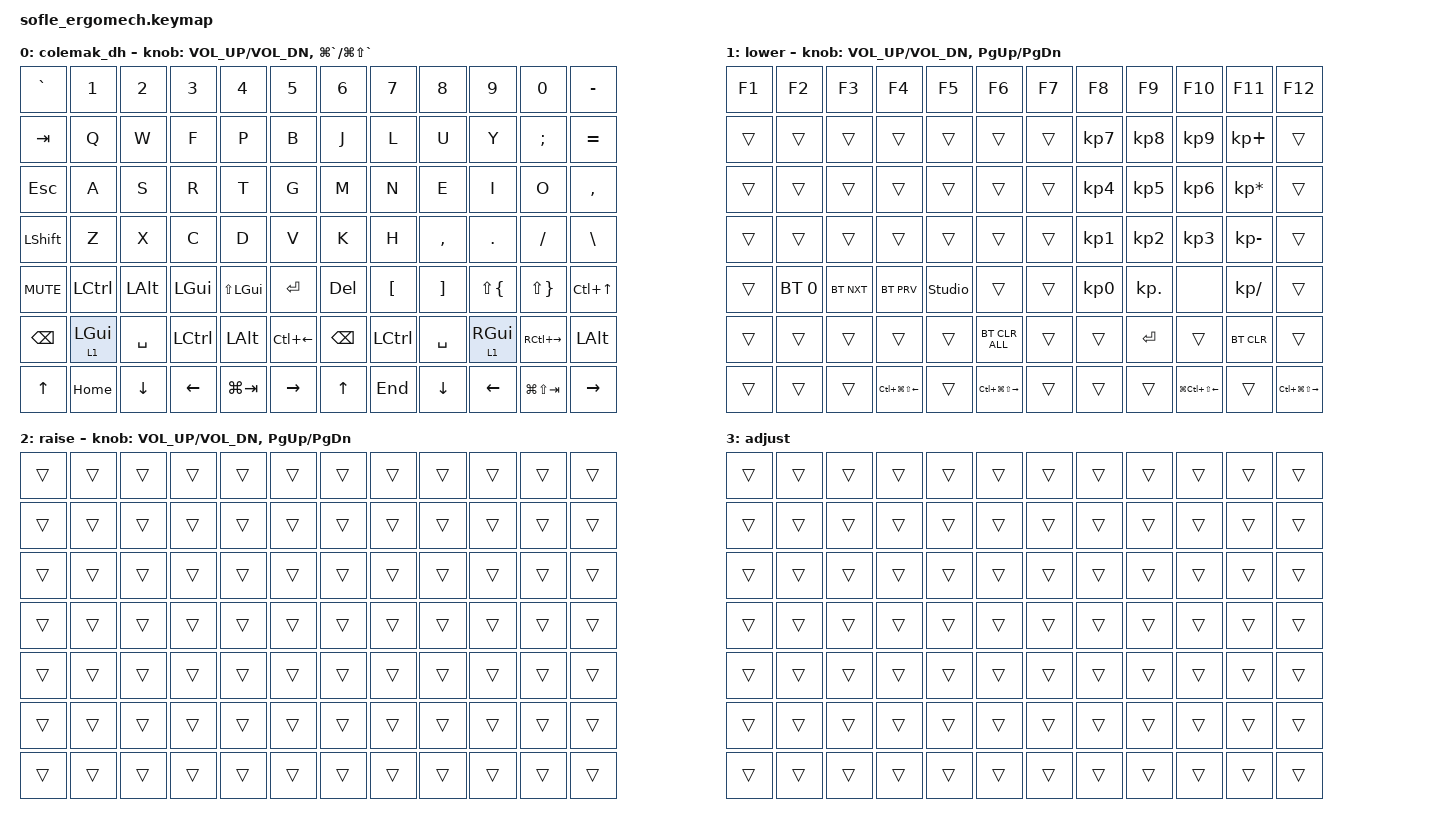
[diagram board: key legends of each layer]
/*
 * Copyright (c) 2020 The ZMK Contributors
 *
 * SPDX-License-Identifier: MIT
 */

#define ZMK_POINTING_DEFAULT_SCRL_VAL 300

#include <behaviors.dtsi>
#include <dt-bindings/zmk/bt.h>
#include <dt-bindings/zmk/keys.h>
#include <dt-bindings/zmk/pointing.h>

#define BASE 0
#define LOWER 1
#define RAISE 2
#define ADJUST 3

/ {
    // Activate ADJUST layer by pressing raise and lower

    conditional_layers {
        compatible = "zmk,conditional-layers";

        adjust_layer {
            if-layers = <LOWER RAISE>;
            then-layer = <ADJUST>;
        };
    };

    behaviors {
        mousescroll: mousescroll {
            compatible = "zmk,behavior-sensor-rotate";
            #sensor-binding-cells = <0>;
            bindings = <&msc SCRL_UP>, <&msc SCRL_DOWN>;

            tap-ms = <20>;
        };
    };

    keymap {
        compatible = "zmk,keymap";

        Colemak-DH {
            label = "colemak_dh";

            // ------------------------------------------------------------------------------------------------------------
            // |   `   |  1  |  2  |  3   |  4   |  5   |                   |  6   |  7    |  8    |  9   |   0   |       |
            // |  ESC  |  Q  |  W  |  E   |  R   |  T   |                   |  Y   |  U    |  I    |  O   |   P   | BKSPC |
            // |  TAB  |  A  |  S  |  D   |  F   |  G   |                   |  H   |  J    |  K    |  L   |   ;   |   '   |
            // | SHIFT |  Z  |  X  |  C   |  V   |  B   |  MUTE  |  |       |  N   |  M    |  ,    |  .   |   /   | SHIFT |
            //               | GUI | ALT  | CTRL | LOWER|  ENTER |  | SPACE | RAISE| CTRL  | ALT   | GUI  |

            bindings = <
&kp GRAVE      &kp N1      &kp N2     &kp N3     &kp N4        &kp N5        &kp N6    &kp N7            &kp N8             &kp N9        &kp N0           &kp MINUS
&kp TAB        &kp Q       &kp W      &kp F      &kp P         &kp B         &kp J     &kp L             &kp U              &kp Y         &kp SEMI         &kp EQUAL
&kp ESC        &kp A       &kp S      &kp R      &kp T         &kp G         &kp M     &kp N             &kp E              &kp I         &kp O            &kp COMMA
&kp LSHFT      &kp Z       &kp X      &kp C      &kp D         &kp V         &kp K     &kp H             &kp COMMA          &kp DOT       &kp FSLH         &kp BSLH
&kp K_MUTE     &kp LCTRL   &kp LALT   &kp LGUI   &kp LS(LGUI)  &kp ENTER     &kp DEL   &kp LEFT_BRACKET  &kp RIGHT_BRACKET  &kp LS(LBRC)  &kp LS(RBRC)     &kp LC(UP_ARROW)
&kp BACKSPACE  &lt 1 LGUI  &kp SPACE  &kp LCTRL  &kp LALT      &kp LC(LEFT)  &kp BSPC  &kp LCTRL         &kp SPACE          &lt 1 RGUI    &kp RC(RIGHT)    &kp LALT
&kp UP         &kp HOME    &kp DOWN   &kp LEFT   &kp LG(TAB)   &kp RIGHT     &kp UP    &kp END           &kp DOWN           &kp LEFT      &kp LG(LS(TAB))  &kp RIGHT
            >;

            sensor-bindings =
                <&inc_dec_kp C_VOL_UP C_VOL_DN>,
                <&inc_dec_kp LG(GRAVE) LG(LS(GRAVE))>;
        };

        lower_layer {
            label = "lower";

            // TODO: Some binds are waiting for shifted keycode support.
            // ------------------------------------------------------------------------------------------------------------
            // |       |  F1 |  F2 |  F3  |  F4  |  F5  |                   |  F6  |  F7   |  F8   |  F9  |  F10  |  F11  |
            // |   `   |  1  |  2  |  3   |  4   |  5   |                   |  6   |  7    |  8    |  9   |   0   |  F12  |
            // |       |  !  |  @  |  #   |  $   |  %   |                   |  ^   |  &    |  *    |  (   |   )   |   |   |
            // |       |  =  |  -  |  +   |  {   |  }   |        |  |       |  [   |  ]    |  ;    |  :   |   \   |       |
            //               |     |      |      |      |        |  |       |      |       |       |      |

            bindings = <
&kp F1  &kp F2        &kp F3      &kp F4                &kp F5          &kp F6                 &kp F7  &kp F8           &kp F9      &kp F10               &kp F11          &kp F12
&trans  &trans        &trans      &trans                &trans          &trans                 &trans  &kp KP_N7        &kp KP_N8   &kp KP_N9             &kp KP_PLUS      &trans
&trans  &trans        &trans      &trans                &trans          &trans                 &trans  &kp KP_NUMBER_4  &kp KP_N5   &kp KP_N6             &kp KP_ASTERISK  &trans
&trans  &trans        &trans      &trans                &trans          &trans                 &trans  &kp KP_N1        &kp KP_N2   &kp KP_N3             &kp KP_MINUS     &trans
&trans  &bt BT_SEL 0  &bt BT_NXT  &bt BT_PRV            &studio_unlock  &trans                 &trans  &kp KP_N0        &kp KP_DOT  &none                 &kp KP_DIVIDE    &trans
&trans  &trans        &trans      &trans                &trans          &bt BT_CLR_ALL         &trans  &trans           &kp ENTER   &trans                &bt BT_CLR       &trans
&trans  &trans        &trans      &kp LC(LG(LS(LEFT)))  &trans          &kp LC(LG(LS(RIGHT)))  &trans  &trans           &trans      &kp LG(LC(LS(LEFT)))  &trans           &kp LC(LG(LS(RIGHT)))
            >;

            sensor-bindings = <&inc_dec_kp C_VOL_UP C_VOL_DN &inc_dec_kp PG_UP PG_DN>;
        };

        raise_layer {
            label = "raise";

            // ------------------------------------------------------------------------------------------------------------
            // | BTCLR | BT1  | BT2  |  BT3  |  BT4  |  BT5 |                |      |      |       |      |       |       |
            // |       | INS  | PSCR | GUI   |       |      |                | PGUP |      |   ^   |      |       |       |
            // |       | ALT  | CTRL | SHIFT |       | CAPS |                | PGDN |   <- |   v   |  ->  |  DEL  | BKSPC |
            // |       | UNDO | CUT  | COPY  | PASTE |      |      |  |      |      |      |       |      |       |       |
            //                |      |       |       |      |      |  |      |      |      |       |      |

            bindings = <
&trans  &trans  &trans  &trans  &trans  &trans  &trans  &trans  &trans  &trans  &trans  &trans
&trans  &trans  &trans  &trans  &trans  &trans  &trans  &trans  &trans  &trans  &trans  &trans
&trans  &trans  &trans  &trans  &trans  &trans  &trans  &trans  &trans  &trans  &trans  &trans
&trans  &trans  &trans  &trans  &trans  &trans  &trans  &trans  &trans  &trans  &trans  &trans
&trans  &trans  &trans  &trans  &trans  &trans  &trans  &trans  &trans  &trans  &trans  &trans
&trans  &trans  &trans  &trans  &trans  &trans  &trans  &trans  &trans  &trans  &trans  &trans
&trans  &trans  &trans  &trans  &trans  &trans  &trans  &trans  &trans  &trans  &trans  &trans
            >;

            sensor-bindings = <&inc_dec_kp C_VOL_UP C_VOL_DN &inc_dec_kp PG_UP PG_DN>;
        };

        adjust_layer {
            // ----------------------------------------------------------------------------------------------------------------------------
            // | BTCLR  |  BT1    |  BT2    |   BT3   |   BT4   |   BT5   |                  |      |      |       |      |       |       |
            // | EXTPWR | RGB_HUD | RGB_HUI | RGB_SAD | RGB_SAI | RGB_EFF |                  |      |      |       |      |       |       |
            // |        | RGB_BRD | RGB_BRI |         |         |         |                  |      |      |       |      |       |       |
            // |        |         |         |         |         |         | RGB_TOG | |      |      |      |       |      |       |       |
            //                    |         |         |         |         |         | |      |      |      |       |      |

            label = "adjust";
            bindings = <
&trans  &trans  &trans  &trans  &trans  &trans  &trans  &trans  &trans  &trans  &trans  &trans
&trans  &trans  &trans  &trans  &trans  &trans  &trans  &trans  &trans  &trans  &trans  &trans
&trans  &trans  &trans  &trans  &trans  &trans  &trans  &trans  &trans  &trans  &trans  &trans
&trans  &trans  &trans  &trans  &trans  &trans  &trans  &trans  &trans  &trans  &trans  &trans
&trans  &trans  &trans  &trans  &trans  &trans  &trans  &trans  &trans  &trans  &trans  &trans
&trans  &trans  &trans  &trans  &trans  &trans  &trans  &trans  &trans  &trans  &trans  &trans
&trans  &trans  &trans  &trans  &trans  &trans  &trans  &trans  &trans  &trans  &trans  &trans
            >;
        };
    };
};
